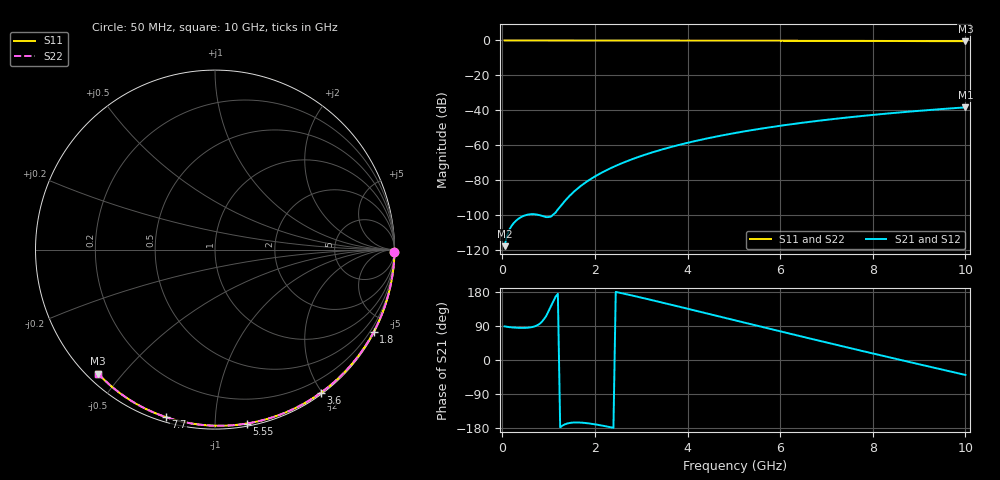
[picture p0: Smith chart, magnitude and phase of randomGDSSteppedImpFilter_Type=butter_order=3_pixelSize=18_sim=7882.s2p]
! freq	dB(S11)	phase(S11)	dB(S12)	phase(S12)
!  dB(S21)	phase(S21)	dB(S22)	phase(S22)
!S-par simulation data
#  GHz  S  DB  R 50
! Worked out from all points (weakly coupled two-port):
!   200 points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, 50 MHz to 10 GHz, reference 50 ohm
!   highest |S21| = -38.27 dB at 10 GHz (marker M1); lowest = -117.7 dB at 50 MHz (marker M2)
!   lowest |S11| = -0.5 dB at 10 GHz (marker M3), VSWR 38.60, Z = 1.54 - j21.6 ohm
!   |S11| at or under -10 dB: nowhere
!   |S22| runs from -0.5 to 0.0 dB; largest |S21 - S12| = 0
!   S11 on the Smith chart (normalised r, x): 50 MHz: open; 1.8 GHz: 0.04, -4.12; 3.6 GHz: 0.02, -1.99; 5.55 GHz: 0.02, -1.20; 7.7 GHz: 0.02, -0.75; 10 GHz: 0.03, -0.43
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0.05  -0.00 -0.8  -117.68 88.7  -117.68 88.7  -0.00 -0.8
0.9  -0.02 -13.8  -100.73 107.8  -100.73 107.8  -0.02 -13.8
1.75  -0.03 -26.6  -82.14 -165.7  -82.14 -165.7  -0.03 -26.6
1.8  -0.03 -27.3  -81.20 -166.3  -81.20 -166.3  -0.03 -27.3
1.85  -0.04 -28.1  -80.30 -167.0  -80.30 -167.0  -0.04 -28.1
1.9  -0.04 -28.8  -79.43 -167.8  -79.43 -167.8  -0.04 -28.8
2.05  -0.04 -31.0  -77.04 -170.7  -77.04 -170.7  -0.04 -31.0
2.25  -0.04 -34.0  -74.22 -175.3  -74.22 -175.3  -0.04 -34.0
2.45  -0.05 -36.9  -71.73 179.7  -71.73 179.7  -0.05 -36.9
2.65  -0.05 -39.8  -69.50 174.4  -69.50 174.4  -0.05 -39.8
3  -0.06 -44.9  -66.08 164.7  -66.08 164.7  -0.06 -44.9
3.4  -0.07 -50.6  -62.74 153.1  -62.74 153.1  -0.07 -50.6
3.6  -0.07 -53.4  -61.25 147.2  -61.25 147.2  -0.07 -53.4
4.3  -0.09 -63.1  -56.74 126.4  -56.74 126.4  -0.09 -63.1
5.05  -0.11 -73.2  -52.83 104.0  -52.83 104.0  -0.11 -73.2
5.55  -0.13 -79.7  -50.60 89.1  -50.60 89.1  -0.13 -79.7
6.1  -0.15 -86.8  -48.43 72.7  -48.43 72.7  -0.15 -86.8
6.7  -0.18 -94.3  -46.35 55.0  -46.35 55.0  -0.18 -94.3
7.7  -0.24 -106.5  -43.38 25.9  -43.38 25.9  -0.24 -106.5
8.35  -0.29 -114.2  -41.72 7.2  -41.72 7.2  -0.29 -114.2
9.15  -0.36 -123.5  -39.93 -15.5  -39.93 -15.5  -0.36 -123.5
10  -0.45 -133.3  -38.27 -39.4  -38.27 -39.4  -0.45 -133.3
